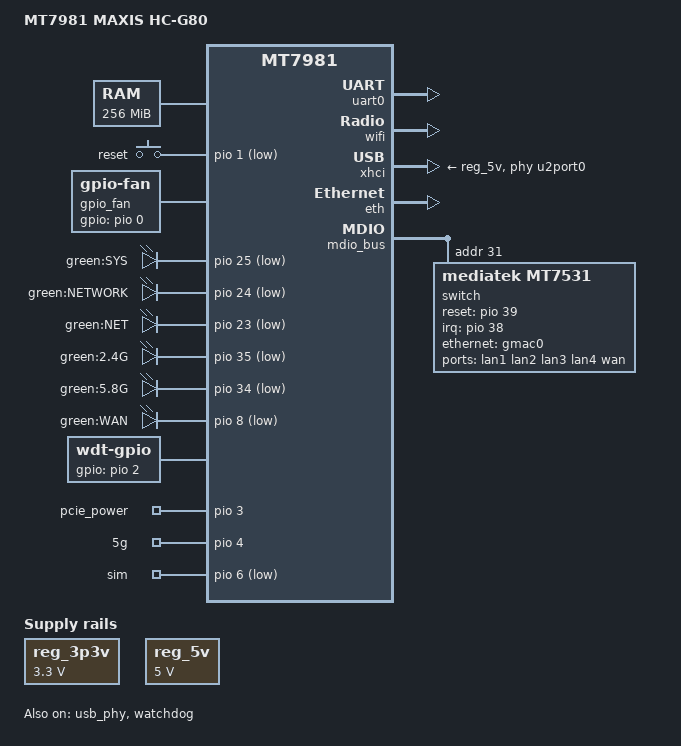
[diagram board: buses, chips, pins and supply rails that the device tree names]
// SPDX-License-Identifier: GPL-2.0-or-later OR MIT
/*
 * Copyright (C) 2023 Tianling Shen <cnsztl@immortalwrt.org>
 */

/dts-v1/;
#include <dt-bindings/gpio/gpio.h>
#include <dt-bindings/input/input.h>

#include "mt7981b.dtsi"

/ {
	model = "MT7981 MAXIS HC-G80";
	compatible = "mt7981,maxis,hcg80", "mediatek,mt7981";

	aliases {
		led-boot = &green_led;
		led-failsafe = &green_led;
		led-running = &green_led;
		led-upgrade = &green_led;
		serial0 = &uart0;
	};

	chosen: chosen {
		stdout-path = "serial0:115200n8";
	};

	memory {
		reg = <0 0x40000000 0 0x10000000>;
	};

	gpio-keys {
		compatible = "gpio-keys";

		button-reset {
			label = "reset";
			linux,code = <KEY_RESTART>;
			gpios = <&pio 1 GPIO_ACTIVE_LOW>;
		};
	};

	gpio_fan: gpio-fan {
		compatible = "gpio-fan";
		gpios = <&pio 0 GPIO_ACTIVE_HIGH>;
		gpio-fan,speed-map = <0 0>, <1 1>;
		#cooling-cells = <2>;
	};

	gpio-leds {
		compatible = "gpio-leds";

		green_led: led-0 {
			label = "green:SYS";
			gpios = <&pio 25 GPIO_ACTIVE_LOW>;
		};

		led-1 {
			label = "green:NETWORK";
			gpios = <&pio 24 GPIO_ACTIVE_LOW>;
		};

		led-2 {
			label = "green:NET";
			gpios = <&pio 23 GPIO_ACTIVE_LOW>;
		};

		led-3 {
			label = "green:2.4G";
			gpios = <&pio 35 GPIO_ACTIVE_LOW>;
		};

		led-4 {
			label = "green:5.8G";
			gpios = <&pio 34 GPIO_ACTIVE_LOW>;
		};

		led-5 {
			label = "green:WAN";
			gpios = <&pio 8 GPIO_ACTIVE_LOW>;
		};
	};

	wdt {
		compatible = "linux,wdt-gpio";
		gpios = <&pio 2 GPIO_ACTIVE_HIGH>;
		hw_algo = "toggle";
		hw_margin_ms = <1000>;
	};

	gpio-export {
		compatible = "gpio-export";
		#size-cells = <0>;

		pcie {
			gpio-export,name = "pcie_power";
			gpio-export,output = <1>;
			gpios = <&pio 3 GPIO_ACTIVE_HIGH>;
		};

		cellular_5g: 5g {
			gpio-export,name = "5g";
			gpio-export,output = <1>;
			gpios = <&pio 4 GPIO_ACTIVE_HIGH>;
		};

		sim {
			gpio-export,name = "sim";
			gpio-export,output = <1>;
			gpios = <&pio 6 GPIO_ACTIVE_LOW>;
		};
	};

	reg_3p3v: regulator-3p3v {
		compatible = "regulator-fixed";
		regulator-name = "fixed-3.3V";
		regulator-min-microvolt = <3300000>;
		regulator-max-microvolt = <3300000>;
		regulator-boot-on;
		regulator-always-on;
	};

	reg_5v: regulator-5v {
		compatible = "regulator-fixed";
		regulator-name = "fixed-5V";
		regulator-min-microvolt = <5000000>;
		regulator-max-microvolt = <5000000>;
		regulator-min-microamp = <1000000>;
		regulator-max-microamp = <2000000>;
		regulator-boot-on;
		regulator-always-on;
	};
};

&uart0 {
	status = "okay";
};

&usb_phy {
	status = "okay";
};

&watchdog {
	status = "okay";
};

&wifi {
	status = "okay";
};

&xhci {
    phys = <&u2port0 PHY_TYPE_USB2>,
           <&u3port0 PHY_TYPE_USB3>;
    vusb33-supply = <&reg_3p3v>;
    vbus-supply = <&reg_5v>;
    mediatek,u3p-dis-msk = <0x0>;
    status = "okay";
};

&eth {
	status = "okay";

	gmac0: mac@0 {
		compatible = "mediatek,eth-mac";
		reg = <0>;
		phy-mode = "2500base-x";

		fixed-link {
			speed = <2500>;
			full-duplex;
			pause;
		};
	};

	gmac1: mac@1 {
		compatible = "mediatek,eth-mac";
		reg = <1>;
		phy-mode = "gmii";
		phy-handle = <&int_gbe_phy>;
	};
};

&mdio_bus {
	switch: switch@1f {
		compatible = "mediatek,mt7531";
		reg = <31>;
		reset-gpios = <&pio 39 GPIO_ACTIVE_HIGH>;
		interrupt-controller;
		#interrupt-cells = <1>;
		interrupt-parent = <&pio>;
		interrupts = <38 IRQ_TYPE_LEVEL_HIGH>;
	};
};

&switch {
	ports {
		#address-cells = <1>;
		#size-cells = <0>;

		port@0 {
			reg = <0>;
			label = "lan1";
		};

		port@1 {
			reg = <1>;
			label = "lan2";
		};

		port@2 {
			reg = <2>;
			label = "lan3";
		};

		port@3 {
			reg = <3>;
			label = "lan4";
		};

		port@4 {
			reg = <4>;
			label = "wan";
		};

		port@6 {
			reg = <6>;
			ethernet = <&gmac0>;
			phy-mode = "2500base-x";

			fixed-link {
				speed = <2500>;
				full-duplex;
				pause;
			};
		};
	};
};

&pio {
	spi0_flash_pins: spi0-pins {
		mux {
			function = "spi";
			groups = "spi0", "spi0_wp_hold";
		};

		conf-pu {
			pins = "SPI0_CS", "SPI0_HOLD", "SPI0_WP";
			drive-strength = <8>;
			bias-pull-up = <MTK_PUPD_SET_R1R0_11>;
		};

		conf-pd {
			pins = "SPI0_CLK", "SPI0_MOSI", "SPI0_MISO";
			drive-strength = <8>;
			bias-pull-down = <MTK_PUPD_SET_R1R0_11>;
		};
	};
};

&cpu_thermal {
	cooling-maps {
		/delete-node/ cpu-active-highest;
		/delete-node/ cpu-active-high;
		/delete-node/ cpu-active-med;
		/delete-node/ cpu-active-low;
		/delete-node/ cpu-active-lowest;

		cpu-active-highest {
			cooling-device = <&gpio_fan 1 1>;
			trip = <&cpu_trip_active_high>;
		};
	};
};

